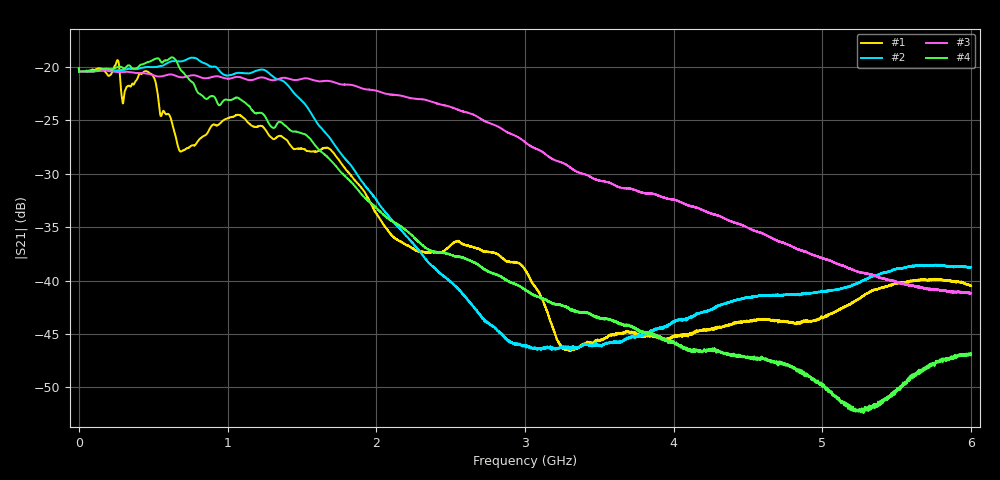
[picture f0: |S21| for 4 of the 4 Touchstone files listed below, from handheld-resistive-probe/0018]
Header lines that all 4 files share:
! Ref Plane: 0.000 mm
# MHZ S MA R  50
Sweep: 300 kHz to 6 GHz
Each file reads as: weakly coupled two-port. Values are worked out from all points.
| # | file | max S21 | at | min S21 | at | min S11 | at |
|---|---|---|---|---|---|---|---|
| 1 | flexground.s2p | -19.36 dB | 260.1 MHz | -46.6 dB | 3.306 GHz | -26.4 dB | 900 kHz |
| 2 | leafground.s2p | -19.12 dB | 759.9 MHz | -46.5 dB | 3.108 GHz | -26.4 dB | 900 kHz |
| 3 | tipground.s2p | -20.13 dB | 300 kHz | -41.2 dB | 5.994 GHz | -26.4 dB | 900 kHz |
| 4 | zground.s2p | -19.09 dB | 624.3 MHz | -52.4 dB | 5.277 GHz | -26.4 dB | 900 kHz |
